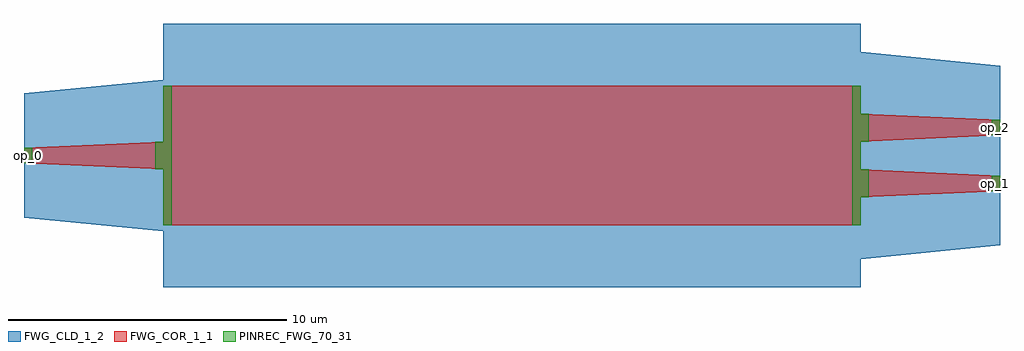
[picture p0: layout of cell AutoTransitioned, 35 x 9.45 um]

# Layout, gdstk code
import gdstk
lib = gdstk.Library(unit=1e-6, precision=1e-09)
def R(c, l, rs):  # rectangles x0, y0, x1, y1
    for r in rs: c.add(gdstk.rectangle(r[:2], r[2:], *l))
def P(c, l, *ps):  # polygons
    for p in ps: c.add(gdstk.Polygon(p, *l))
FWG_COR_1_1 = (1, 1)
FWG_CLD_1_2 = (1, 2)
PINREC_FWG_70_31 = (70, 31)

wg_x1 = lib.new_cell('wg_x1')
R(wg_x1, FWG_COR_1_1, [(0,-2.5,25,2.5)])
P(wg_x1, FWG_CLD_1_2, [(0,4.725),(25,4.725),(25,2.5),(25,-2.5),(25,-4.725),(0,-4.725),(0,-2.5),(0,2.5)])
R(wg_x1, PINREC_FWG_70_31, [(0,-2.5,0.3,2.5), (24.7,-2.5,25,2.5)])
wg_x1.add(gdstk.Label('op_0', (0.15,0), layer=70, texttype=41))
wg_x1.add(gdstk.Label('op_1', (24.85,0), layer=70, texttype=41))

straight = lib.new_cell('Straight')
R(straight, PINREC_FWG_70_31, [(0,-2.5,0.3,2.5), (24.7,-2.5,25,2.5)])
straight.add(gdstk.Reference(wg_x1, (0,0)))
straight.add(gdstk.Label('op_0', (0.15,0), layer=70, texttype=41))
straight.add(gdstk.Label('op_1', (24.85,0), layer=70, texttype=41))

wg_x2 = lib.new_cell('wg_x2')
P(wg_x2, FWG_COR_1_1, [(-5,0.275),(0,0.5),(0,-0.5),(-5,-0.275)])
P(wg_x2, FWG_CLD_1_2, [(-5,2.225),(0,2.725),(0,0.5),(0,-0.5),(0,-2.725),(-5,-2.225),(-5,-0.275),(-5,0.275)])
R(wg_x2, PINREC_FWG_70_31, [(-0.3,-0.5,0,0.5), (-5,-0.275,-4.7,0.275)])
wg_x2.add(gdstk.Label('op_0', (-4.85,0), layer=70, texttype=41))
wg_x2.add(gdstk.Label('op_1', (-0.15,0), layer=70, texttype=41))

taperlinear_x1 = lib.new_cell('TaperLinear_x1')
R(taperlinear_x1, PINREC_FWG_70_31, [(-0.3,-0.5,0,0.5), (-5,-0.275,-4.7,0.275)])
taperlinear_x1.add(gdstk.Reference(wg_x2, (0,0)))
taperlinear_x1.add(gdstk.Label('op_0', (-4.85,0), layer=70, texttype=41))
taperlinear_x1.add(gdstk.Label('op_1', (-0.15,0), layer=70, texttype=41))

c_wg = lib.new_cell('wg')
P(c_wg, FWG_COR_1_1, [(0,0.5),(5,0.275),(5,-0.275),(0,-0.5)])
P(c_wg, FWG_CLD_1_2, [(0,2.725),(5,2.225),(5,0.275),(5,-0.275),(5,-2.225),(0,-2.725),(0,-0.5),(0,0.5)])
R(c_wg, PINREC_FWG_70_31, [(0,-0.5,0.3,0.5), (4.7,-0.275,5,0.275)])
c_wg.add(gdstk.Label('op_0', (0.15,0), layer=70, texttype=41))
c_wg.add(gdstk.Label('op_1', (4.85,0), layer=70, texttype=41))

taperlinear = lib.new_cell('TaperLinear')
R(taperlinear, PINREC_FWG_70_31, [(0,-0.5,0.3,0.5), (4.7,-0.275,5,0.275)])
taperlinear.add(gdstk.Reference(c_wg, (0,0)))
taperlinear.add(gdstk.Label('op_0', (0.15,0), layer=70, texttype=41))
taperlinear.add(gdstk.Label('op_1', (4.85,0), layer=70, texttype=41))

mmi = lib.new_cell('Mmi')
R(mmi, PINREC_FWG_70_31, [(29.7,-1.275,30,-0.725), (-5,-0.275,-4.7,0.275), (29.7,0.725,30,1.275)])
mmi.add(gdstk.Reference(straight, (0,0)))
mmi.add(gdstk.Reference(taperlinear_x1, (0,0)))
mmi.add(gdstk.Reference(taperlinear, (25,-1)))
mmi.add(gdstk.Reference(taperlinear, (25,1)))
mmi.add(gdstk.Label('op_0', (-4.85,0), layer=70, texttype=41))
mmi.add(gdstk.Label('op_1', (29.85,-1), layer=70, texttype=41))
mmi.add(gdstk.Label('op_2', (29.85,1), layer=70, texttype=41))

connected = lib.new_cell('Connected')
R(connected, PINREC_FWG_70_31, [(29.7,-1.275,30,-0.725), (-5,-0.275,-4.7,0.275), (29.7,0.725,30,1.275)])
connected.add(gdstk.Reference(mmi, (0,0)))
connected.add(gdstk.Label('op_0', (-4.85,0), layer=70, texttype=41))
connected.add(gdstk.Label('op_1', (29.85,-1), layer=70, texttype=41))
connected.add(gdstk.Label('op_2', (29.85,1), layer=70, texttype=41))

autotransitioned = lib.new_cell('AutoTransitioned')
R(autotransitioned, PINREC_FWG_70_31, [(29.7,-1.275,30,-0.725), (-5,-0.275,-4.7,0.275), (29.7,0.725,30,1.275)])
autotransitioned.add(gdstk.Reference(connected, (0,0)))
autotransitioned.add(gdstk.Label('op_0', (-4.85,0), layer=70, texttype=41))
autotransitioned.add(gdstk.Label('op_1', (29.85,-1), layer=70, texttype=41))
autotransitioned.add(gdstk.Label('op_2', (29.85,1), layer=70, texttype=41))

lib.write_gds('AutoTransitioned.gds')
